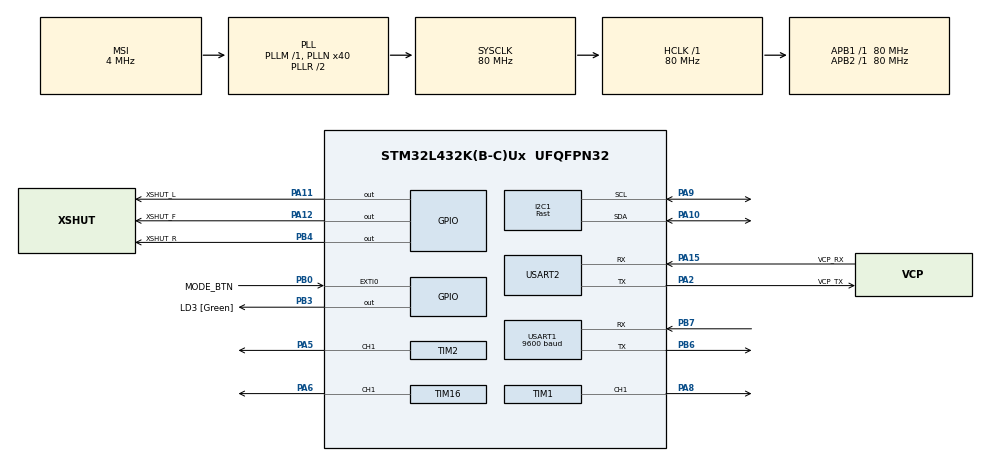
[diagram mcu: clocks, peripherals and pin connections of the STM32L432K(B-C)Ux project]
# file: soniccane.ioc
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FREERTOS.BinarySemaphores01=BinSemMode,Dynamic,NULL
FREERTOS.INCLUDE_uxTaskGetStackHighWaterMark=1
FREERTOS.INCLUDE_vTaskDelay=1
FREERTOS.INCLUDE_vTaskDelayUntil=1
FREERTOS.INCLUDE_xTaskGetSchedulerState=1
FREERTOS.Tasks01=defaultTask,24,128,StartDefaultTask,Default,NULL,Dynamic,NULL,NULL;Sensor,40,384,StartSensorTask,Default,NULL,Dynamic,NULL,NULL;Feedback,32,256,StartFeedbackTask,Default,NULL,Dynamic,NULL,NULL;Button,32,128,StartButtonTask,Default,NULL,Dynamic,NULL,NULL;Debug,8,256,StartDebugTask,Default,NULL,Dynamic,NULL,NULL;Comms,24,384,StartCommsTask,Default,NULL,Dynamic,NULL,NULL
FREERTOS.configMAX_PRIORITIES=56
FREERTOS.configTOTAL_HEAP_SIZE=8192 
I2C1.I2C_Speed_Mode=I2C_Fast
I2C1.Timing=0x00702991
Mcu.Family=STM32L4
Mcu.Name=STM32L432K(B-C)Ux
Mcu.Package=UFQFPN32
NVIC.EXTI0_IRQn=true\:5\:0\:false\:false\:true\:true\:true\:true\:true
NVIC.PriorityGroup=NVIC_PRIORITYGROUP_4
NVIC.TIM6_DAC_IRQn=true\:15\:0\:false\:false\:true\:false\:false\:true\:true
NVIC.TimeBase=TIM6_DAC_IRQn
NVIC.TimeBaseIP=TIM6
PA0.GPIO_Label=MCO [High speed clock in]
PA0.Mode=HSE-External-Clock-Source-for-LittleOrca
PA0.Signal=RCC_CK_IN
PA10.Mode=I2C
PA10.Signal=I2C1_SDA
PA11.GPIO_Label=XSHUT_L
PA11.Signal=GPIO_Output
PA12.GPIO_Label=XSHUT_F
PA12.Signal=GPIO_Output
PA13\ (JTMS-SWDIO).GPIO_Label=SWDIO
PA13\ (JTMS-SWDIO).Mode=Serial_Wire
PA13\ (JTMS-SWDIO).Signal=SYS_JTMS-SWDIO
PA14\ (JTCK-SWCLK).GPIO_Label=SWCLK
PA14\ (JTCK-SWCLK).Mode=Serial_Wire
PA14\ (JTCK-SWCLK).Signal=SYS_JTCK-SWCLK
PA15\ (JTDI).GPIO_Label=VCP_RX
PA15\ (JTDI).Mode=Asynchronous
PA15\ (JTDI).Signal=USART2_RX
PA2.GPIO_Label=VCP_TX
PA2.Mode=Asynchronous
PA2.Signal=USART2_TX
PA5.Signal=S_TIM2_CH1
PA6.Signal=S_TIM16_CH1
PA8.Signal=S_TIM1_CH1
PA9.Mode=I2C
PA9.Signal=I2C1_SCL
PB0.GPIO_Label=MODE_BTN
PB0.GPIO_ModeDefaultEXTI=GPIO_MODE_IT_FALLING
PB0.GPIO_PuPd=GPIO_PULLUP
PB0.Signal=GPXTI0
PB3\ (JTDO-TRACESWO).GPIO_Label=LD3 [Green]
PB3\ (JTDO-TRACESWO).Signal=GPIO_Output
PB4\ (NJTRST).GPIO_Label=XSHUT_R
PB4\ (NJTRST).Signal=GPIO_Output
PB6.Mode=Asynchronous
PB6.Signal=USART1_TX
PB7.Mode=Asynchronous
PB7.Signal=USART1_RX
PC14-OSC32_IN\ (PC14).Mode=LSE-External-Oscillator
PC14-OSC32_IN\ (PC14).Signal=RCC_OSC32_IN
PC15-OSC32_OUT\ (PC15).Mode=LSE-External-Oscillator
PC15-OSC32_OUT\ (PC15).Signal=RCC_OSC32_OUT
ProjectManager.HeapSize=0x200
ProjectManager.StackSize=0x400
ProjectManager.TargetToolchain=MDK-ARM V5.32
RCC.AHBFreq_Value=80000000
RCC.APB1Freq_Value=80000000
RCC.APB1TimFreq_Value=80000000
RCC.APB2Freq_Value=80000000
RCC.APB2TimFreq_Value=80000000
RCC.CortexFreq_Value=80000000
RCC.HCLKFreq_Value=80000000
RCC.HSE_VALUE=8000000
RCC.HSI16_VALUE=16000000
RCC.HSI48_VALUE=48000000
RCC.HSI_VALUE=16000000
RCC.MSI_VALUE=4000000
RCC.PLLMUL=RCC_PLLMUL_4
RCC.PLLN=40
RCC.SYSCLKFreq_VALUE=80000000
RCC.SYSCLKSource=RCC_SYSCLKSOURCE_PLLCLK
RCC.VCOOutputFreq_Value=160000000
SH.S_TIM16_CH1.0=TIM16_CH1,PWM Generation1 CH1
SH.S_TIM1_CH1.0=TIM1_CH1,PWM Generation1 CH1
SH.S_TIM2_CH1.0=TIM2_CH1,PWM Generation1 CH1
TIM1.AutoReloadPreload=TIM_AUTORELOAD_PRELOAD_ENABLE
TIM1.Channel-PWM\ Generation1\ CH1=TIM_CHANNEL_1
TIM1.Period=999
TIM1.Prescaler=15999
TIM16.AutoReloadPreload=TIM_AUTORELOAD_PRELOAD_ENABLE
TIM16.Channel=TIM_CHANNEL_1
TIM16.Period=999
TIM16.Prescaler=15999
TIM2.AutoReloadPreload=TIM_AUTORELOAD_PRELOAD_ENABLE
TIM2.Channel-PWM\ Generation1\ CH1=TIM_CHANNEL_1
TIM2.Period=999
TIM2.Prescaler=15999
USART1.BaudRate=9600
USART1.VirtualMode-Asynchronous=VM_ASYNC
USART2.VirtualMode-Asynchronous=VM_ASYNC
VP_FREERTOS_VS_CMSIS_V2.Mode=CMSIS_V2
VP_SYS_VS_tim6.Mode=TIM6
VP_TIM16_VS_ClockSourceINT.Mode=Enable_Timer
VP_TIM1_VS_ClockSourceINT.Mode=Internal
VP_TIM2_VS_ClockSourceINT.Mode=Internal
board=NUCLEO-L432KC

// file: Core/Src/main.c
/* USER CODE BEGIN Header */
/**
 ******************************************************************************
 * @file           : main.c
 * @brief          : Main program body
 ******************************************************************************
 * @attention
 *
 * Copyright (c) 2026 STMicroelectronics.
 * All rights reserved.
 *
 * This software is licensed under terms that can be found in the LICENSE file
 * in the root directory of this software component.
 * If no LICENSE file comes with this software, it is provided AS-IS.
 *
 ******************************************************************************
 */
/* USER CODE END Header */
#include "main.h"
#include "cmsis_os.h"

/* USER CODE BEGIN Includes */
#include <stdio.h>
#include "FreeRTOS.h"
#include "queue.h"
#include "semphr.h"
#include "VL53L1X_api.h"
#include "vl53l1_platform.h"
/* USER CODE END Includes */

/* USER CODE BEGIN PTD */
typedef struct
{
  uint16_t d_fwd;
  uint16_t d_left;
  uint16_t d_right;
  uint32_t t_ms;
} DistanceMsg_t;

typedef struct
{
  DistanceMsg_t dist;
  uint8_t motor_enabled;
  uint32_t err_count[3];
  uint32_t bus_recover_count;
} TelemetrySnapshot_t;

typedef struct
{
  VL53L1_Dev_t dev;
  GPIO_TypeDef *xshut_port;
  uint16_t xshut_pin;
  uint16_t last_dist;
  TIM_HandleTypeDef *htim;
  uint32_t tim_channel;
} channel_t;

typedef enum
{
  ALERT_OFF = 0,   /* > 2 m or invalid                */
  ALERT_FAR,       /* 1.0�2.0 m                       */
  ALERT_MEDIUM,    /* 0.5�1.0 m                       */
  ALERT_CLOSE,     /* 0.2�0.5 m                       */
  ALERT_IMMEDIATE, /* < 0.2 m                          */
} AlertZone_t;

typedef struct
{
  uint8_t dir; /* IDX_FWD / IDX_LEFT / IDX_RIGHT  */
  AlertZone_t zone;
  uint16_t dist_mm;
} AlertMsg_t;

typedef struct
{
  uint16_t buf[5];
  uint8_t idx;
  uint8_t count;
} median_filter_t;
/* USER CODE END PTD */

/* USER CODE BEGIN PD */
#define N_CH 3
#define IDX_FWD 0
#define IDX_LEFT 1
#define IDX_RIGHT 2

#define PWM_ARR 999u
#define PWM_FULL_ON 1000u /* > ARR ? output stays HIGH */
#define PWM_HALF_DUTY 500u

#define PSC_1_5HZ 53332u
#define PSC_3HZ 26665u
#define PSC_6HZ 13332u

#define FILTER_N 5u
/* USER CODE END PD */

I2C_HandleTypeDef hi2c1;

TIM_HandleTypeDef htim1;
TIM_HandleTypeDef htim2;
TIM_HandleTypeDef htim16;

UART_HandleTypeDef huart1;
UART_HandleTypeDef huart2;

/* Definitions for defaultTask */
osThreadId_t defaultTaskHandle;
const osThreadAttr_t defaultTask_attributes = {
    .name = "defaultTask",
    .stack_size = 128 * 4,
    .priority = (osPriority_t)osPriorityNormal,
};
/* Definitions for Sensor */
osThreadId_t SensorHandle;
const osThreadAttr_t Sensor_attributes = {
    .name = "Sensor",
    .stack_size = 384 * 4,
    .priority = (osPriority_t)osPriorityHigh,
};
/* Definitions for Feedback */
osThreadId_t FeedbackHandle;
const osThreadAttr_t Feedback_attributes = {
    .name = "Feedback",
    .stack_size = 256 * 4,
    .priority = (osPriority_t)osPriorityAboveNormal,
};
/* Definitions for Button */
osThreadId_t ButtonHandle;
const osThreadAttr_t Button_attributes = {
    .name = "Button",
    .stack_size = 128 * 4,
    .priority = (osPriority_t)osPriorityAboveNormal,
};
/* Definitions for Debug */
osThreadId_t DebugHandle;
const osThreadAttr_t Debug_attributes = {
    .name = "Debug",
    .stack_size = 256 * 4,
    .priority = (osPriority_t)osPriorityLow,
};
/* Definitions for Comms */
osThreadId_t CommsHandle;
const osThreadAttr_t Comms_attributes = {
    .name = "Comms",
    .stack_size = 384 * 4,
    .priority = (osPriority_t)osPriorityNormal,
};
/* Definitions for BinSemMode */
osSemaphoreId_t BinSemModeHandle;
const osSemaphoreAttr_t BinSemMode_attributes = {
    .name = "BinSemMode"};
/* USER CODE BEGIN PV */
static channel_t ch[N_CH] = {
    [IDX_FWD] = {
        .dev = {.I2cHandle = &hi2c1},
        .xshut_port = XSHUT_F_GPIO_Port,
        .xshut_pin = XSHUT_F_Pin,
        .htim = &htim2,
        .tim_channel = TIM_CHANNEL_1,
    },
    [IDX_LEFT] = {
        .dev = {.I2cHandle = &hi2c1},
        .xshut_port = XSHUT_L_GPIO_Port,
        .xshut_pin = XSHUT_L_Pin,
        .htim = &htim1,
        .tim_channel = TIM_CHANNEL_1,
    },
    [IDX_RIGHT] = {
        .dev = {.I2cHandle = &hi2c1},
        .xshut_port = XSHUT_R_GPIO_Port,
        .xshut_pin = XSHUT_R_Pin,
        .htim = &htim16,
        .tim_channel = TIM_CHANNEL_1,
    },
};

static const uint8_t SENSOR_ADDRS[N_CH] = {0x54, 0x56, 0x58};

static volatile uint32_t err_count[N_CH] = {0};
static volatile uint32_t bus_recover_count = 0;

static median_filter_t mf[N_CH] = {0};

static volatile uint8_t motor_enabled = 0;

osMessageQueueId_t distanceQueueHandle;
osMessageQueueId_t telemetryQueueHandle;
osMessageQueueId_t alertQueueHandle;
/* USER CODE END PV */

void SystemClock_Config(void);
static void MX_GPIO_Init(void);
static void MX_I2C1_Init(void);
static void MX_USART2_UART_Init(void);
static void MX_TIM2_Init(void);
static void MX_TIM1_Init(void);
static void MX_TIM16_Init(void);
static void MX_USART1_UART_Init(void);
void StartDefaultTask(void *argument);
void StartSensorTask(void *argument);
void StartFeedbackTask(void *argument);
void StartButtonTask(void *argument);
void StartDebugTask(void *argument);
void StartCommsTask(void *argument);

/* USER CODE BEGIN PFP */
static void uart_say(const char *s, int n);
static void i2c_bus_recover(void);
static int sensor_bringup(int i);
static void sensor_bringup_all(void);
static uint16_t read_one(int i);
static uint16_t filter_push(int i, uint16_t raw);
static void apply_bucket(int i, uint16_t dist);
static void silence_all(void);
static void publish_telemetry(const DistanceMsg_t *msg);
static AlertZone_t dist_to_zone(uint16_t dist);
/* USER CODE END PFP */

/* USER CODE BEGIN 0 */
static void uart_say(const char *s, int n)
{
  HAL_UART_Transmit(&huart2, (const uint8_t *)s, n, HAL_MAX_DELAY);
}

static void i2c_bus_recover(void)
{
  HAL_I2C_DeInit(&hi2c1);
  HAL_Delay(2);
  MX_I2C1_Init();
  bus_recover_count++;
}

static int sensor_bringup(int i)
{
  char m[40];
  int n;
  int8_t rc;

  HAL_GPIO_WritePin(ch[i].xshut_port, ch[i].xshut_pin, GPIO_PIN_SET);
  HAL_Delay(2);
  ch[i].dev.I2cDevAddr = 0x52;

  uint8_t booted = 0;
  uint32_t boot_start = HAL_GetTick();
  while (!booted)
  {
    rc = VL53L1X_BootState(ch[i].dev, &booted);
    if (rc != 0)
    {
      n = snprintf(m, sizeof(m), "S%d boot rc=%d ec=0x%lX\r\n",
                   i, rc, (unsigned long)hi2c1.ErrorCode);
      uart_say(m, n);
      return 1;
    }
    if (HAL_GetTick() - boot_start > 100)
    {
      n = snprintf(m, sizeof(m), "S%d boot timeout\r\n", i);
      uart_say(m, n);
      return 2;
    }
    HAL_Delay(2);
  }

  rc = VL53L1X_SetI2CAddress(ch[i].dev, SENSOR_ADDRS[i]);
  if (rc)
  {
    n = snprintf(m, sizeof(m), "S%d setaddr rc=%d\r\n", i, rc);
    uart_say(m, n);
    return 3;
  }
  ch[i].dev.I2cDevAddr = SENSOR_ADDRS[i];

  rc = VL53L1X_SensorInit(ch[i].dev);
  if (rc)
  {
    n = snprintf(m, sizeof(m), "S%d sensorinit rc=%d\r\n", i, rc);
    uart_say(m, n);
    return 4;
  }

  rc = VL53L1X_SetDistanceMode(ch[i].dev, 1);
  if (rc)
  {
    n = snprintf(m, sizeof(m), "S%d distmode rc=%d\r\n", i, rc);
    uart_say(m, n);
    return 5;
  }

  rc = VL53L1X_SetTimingBudgetInMs(ch[i].dev, 50);
  if (rc)
  {
    n = snprintf(m, sizeof(m), "S%d tb rc=%d\r\n", i, rc);
    uart_say(m, n);
    return 6;
  }

  rc = VL53L1X_SetInterMeasurementInMs(ch[i].dev, 50);
  if (rc)
  {
    n = snprintf(m, sizeof(m), "S%d imp rc=%d\r\n", i, rc);
    uart_say(m, n);
    return 7;
  }

  rc = VL53L1X_StartRanging(ch[i].dev);
  if (rc)
  {
    n = snprintf(m, sizeof(m), "S%d start rc=%d\r\n", i, rc);
    uart_say(m, n);
    return 8;
  }

  uint32_t check_start = HAL_GetTick();
  uint8_t ready = 0;
  while (HAL_GetTick() - check_start < 200)
  {
    rc = VL53L1X_CheckForDataReady(ch[i].dev, &ready);
    if (rc == 0 && ready)
      break;
    HAL_Delay(5);
  }
  if (!ready)
  {
    n = snprintf(m, sizeof(m), "S%d no data after init\r\n", i);
    uart_say(m, n);
    return 9;
  }
  VL53L1X_ClearInterrupt(ch[i].dev);

  n = snprintf(m, sizeof(m), "S%d ok @ 0x%02X\r\n", i, SENSOR_ADDRS[i]);
  uart_say(m, n);
  return 0;
}

static void sensor_bringup_all(void)
{
  for (int i = 0; i < N_CH; i++)
    HAL_GPIO_WritePin(ch[i].xshut_port, ch[i].xshut_pin, GPIO_PIN_RESET);
  HAL_Delay(10);

  for (int i = 0; i < N_CH; i++)
  {
    int attempts = 0;
    while (sensor_bringup(i) != 0)
    {
      if (++attempts >= 3)
      {
        char m[24];
        int n = snprintf(m, sizeof(m), "S%d FAIL\r\n", i);
        uart_say(m, n);
        break;
      }
      i2c_bus_recover();
      HAL_GPIO_WritePin(ch[i].xshut_port, ch[i].xshut_pin, GPIO_PIN_RESET);
      HAL_Delay(5);
    }
  }
}

static uint16_t read_one(int i)
{
  uint8_t ready = 0;
  int8_t rc = VL53L1X_CheckForDataReady(ch[i].dev, &ready);
  if (rc != 0)
  {
    err_count[i]++;
    i2c_bus_recover();
    return ch[i].last_dist;
  }
  if (!ready)
    return ch[i].last_dist;

  uint16_t dist = 0;
  rc = VL53L1X_GetDistance(ch[i].dev, &dist);
  if (rc != 0)
  {
    err_count[i]++;
    i2c_bus_recover();
    return ch[i].last_dist;
  }
  VL53L1X_ClearInterrupt(ch[i].dev);
  ch[i].last_dist = dist;
  return dist;
}

static uint16_t filter_push(int i, uint16_t raw)
{
  median_filter_t *f = &mf[i];
  f->buf[f->idx] = raw;
  f->idx = (uint8_t)((f->idx + 1u) % FILTER_N);
  if (f->count < FILTER_N)
    f->count++;

  uint16_t sorted[FILTER_N];
  for (uint8_t k = 0; k < f->count; k++)
    sorted[k] = f->buf[k];
  for (uint8_t k = 1; k < f->count; k++)
  {
    uint16_t v = sorted[k];
    int j = (int)k - 1;
    while (j >= 0 && sorted[j] > v)
    {
      sorted[j + 1] = sorted[j];
      j--;
    }
    sorted[j + 1] = v;
  }
  return sorted[f->count / 2u];
}

static void apply_bucket(int i, uint16_t dist)
{
  TIM_HandleTypeDef *t = ch[i].htim;
  uint32_t chx = ch[i].tim_channel;

  if (dist == 0 || dist > 2000)
  {
    __HAL_TIM_SET_COMPARE(t, chx, 0);
  }
  else if (dist < 200)
  {
    __HAL_TIM_SET_COMPARE(t, chx, PWM_FULL_ON);
  }
  else if (dist <= 500)
  {
    __HAL_TIM_SET_PRESCALER(t, PSC_6HZ);
    __HAL_TIM_SET_COMPARE(t, chx, PWM_HALF_DUTY);
  }
  else if (dist <= 1000)
  {
    __HAL_TIM_SET_PRESCALER(t, PSC_3HZ);
    __HAL_TIM_SET_COMPARE(t, chx, PWM_HALF_DUTY);
  }
  else
  {
    __HAL_TIM_SET_PRESCALER(t, PSC_1_5HZ);
    __HAL_TIM_SET_COMPARE(t, chx, PWM_HALF_DUTY);
  }
}

static void silence_all(void)
{
  for (int i = 0; i < N_CH; i++)
    __HAL_TIM_SET_COMPARE(ch[i].htim, ch[i].tim_channel, 0);
}

static void publish_telemetry(const DistanceMsg_t *msg)
{
  TelemetrySnapshot_t snap;
  snap.dist = *msg;

  taskENTER_CRITICAL();
  snap.motor_enabled = motor_enabled;
  for (int i = 0; i < N_CH; i++)
    snap.err_count[i] = err_count[i];
  snap.bus_recover_count = bus_recover_count;
  taskEXIT_CRITICAL();

  xQueueSendToBack((QueueHandle_t)telemetryQueueHandle, &snap, 0);
}

static AlertZone_t dist_to_zone(uint16_t dist)
{
  if (dist == 0 || dist > 2000)
    return ALERT_OFF;
  if (dist < 200)
    return ALERT_IMMEDIATE;
  if (dist <= 500)
    return ALERT_CLOSE;
  if (dist <= 1000)
    return ALERT_MEDIUM;
  return ALERT_FAR;
}
/* USER CODE END 0 */

int main(void)
{

  /* MCU Configuration--------------------------------------------------------*/

  /* Reset of all peripherals, Initializes the Flash interface and the Systick. */
  HAL_Init();

  /* Configure the system clock */
  SystemClock_Config();

  /* Initialize all configured peripherals */
  MX_GPIO_Init();
  MX_I2C1_Init();
  MX_USART2_UART_Init();
  MX_TIM2_Init();
  MX_TIM1_Init();
  MX_TIM16_Init();
  MX_USART1_UART_Init();
  /* USER CODE BEGIN 2 */
  sensor_bringup_all();
  HAL_TIM_PWM_Start(&htim2, TIM_CHANNEL_1);
  HAL_TIM_PWM_Start(&htim1, TIM_CHANNEL_1);
  HAL_TIM_PWM_Start(&htim16, TIM_CHANNEL_1);
  /* USER CODE END 2 */

  /* Init scheduler */
  osKernelInitialize();

  /* Create the semaphores(s) */
  /* creation of BinSemMode */
  BinSemModeHandle = osSemaphoreNew(1, 1, &BinSemMode_attributes);

  /* USER CODE BEGIN RTOS_QUEUES */
  /* add queues, ... */
  distanceQueueHandle = osMessageQueueNew(2, sizeof(DistanceMsg_t), NULL);
  telemetryQueueHandle = osMessageQueueNew(1, sizeof(TelemetrySnapshot_t), NULL);
  alertQueueHandle = osMessageQueueNew(4, sizeof(AlertMsg_t), NULL);
  /* USER CODE END RTOS_QUEUES */

  /* Create the thread(s) */
  /* creation of defaultTask */
  defaultTaskHandle = osThreadNew(StartDefaultTask, NULL, &defaultTask_attributes);

  /* creation of Sensor */
  SensorHandle = osThreadNew(StartSensorTask, NULL, &Sensor_attributes);

  /* creation of Feedback */
  FeedbackHandle = osThreadNew(StartFeedbackTask, NULL, &Feedback_attributes);

  /* creation of Button */
  ButtonHandle = osThreadNew(StartButtonTask, NULL, &Button_attributes);

  /* creation of Debug */
  DebugHandle = osThreadNew(StartDebugTask, NULL, &Debug_attributes);

  /* creation of Comms */
  CommsHandle = osThreadNew(StartCommsTask, NULL, &Comms_attributes);

  /* Start scheduler */
  osKernelStart();
  /* We should never get here as control is now taken by the scheduler */
  /* Infinite loop */
  while (1)
  {

  }
}

void SystemClock_Config(void)
{
  RCC_OscInitTypeDef RCC_OscInitStruct = {0};
  RCC_ClkInitTypeDef RCC_ClkInitStruct = {0};

  /** Configure the main internal regulator output voltage
   */
  if (HAL_PWREx_ControlVoltageScaling(PWR_REGULATOR_VOLTAGE_SCALE1) != HAL_OK)
  {
    Error_Handler();
  }

  /** Configure LSE Drive Capability
   */
  HAL_PWR_EnableBkUpAccess();
  __HAL_RCC_LSEDRIVE_CONFIG(RCC_LSEDRIVE_LOW);

  /** Initializes the RCC Oscillators according to the specified parameters
   * in the RCC_OscInitTypeDef structure.
   */
  RCC_OscInitStruct.OscillatorType = RCC_OSCILLATORTYPE_LSE | RCC_OSCILLATORTYPE_MSI;
  RCC_OscInitStruct.LSEState = RCC_LSE_ON;
  RCC_OscInitStruct.MSIState = RCC_MSI_ON;
  RCC_OscInitStruct.MSICalibrationValue = 0;
  RCC_OscInitStruct.MSIClockRange = RCC_MSIRANGE_6;
  RCC_OscInitStruct.PLL.PLLState = RCC_PLL_ON;
  RCC_OscInitStruct.PLL.PLLSource = RCC_PLLSOURCE_MSI;
  RCC_OscInitStruct.PLL.PLLM = 1;
  RCC_OscInitStruct.PLL.PLLN = 40;
  RCC_OscInitStruct.PLL.PLLP = RCC_PLLP_DIV7;
  RCC_OscInitStruct.PLL.PLLQ = RCC_PLLQ_DIV2;
  RCC_OscInitStruct.PLL.PLLR = RCC_PLLR_DIV2;
  if (HAL_RCC_OscConfig(&RCC_OscInitStruct) != HAL_OK)
  {
    Error_Handler();
  }

  /** Initializes the CPU, AHB and APB buses clocks
   */
  RCC_ClkInitStruct.ClockType = RCC_CLOCKTYPE_HCLK | RCC_CLOCKTYPE_SYSCLK | RCC_CLOCKTYPE_PCLK1 | RCC_CLOCKTYPE_PCLK2;
  RCC_ClkInitStruct.SYSCLKSource = RCC_SYSCLKSOURCE_PLLCLK;
  RCC_ClkInitStruct.AHBCLKDivider = RCC_SYSCLK_DIV1;
  RCC_ClkInitStruct.APB1CLKDivider = RCC_HCLK_DIV1;
  RCC_ClkInitStruct.APB2CLKDivider = RCC_HCLK_DIV1;

  if (HAL_RCC_ClockConfig(&RCC_ClkInitStruct, FLASH_LATENCY_4) != HAL_OK)
  {
    Error_Handler();
  }

  /** Enable MSI Auto calibration
   */
  HAL_RCCEx_EnableMSIPLLMode();
}

static void MX_I2C1_Init(void)
{

  hi2c1.Instance = I2C1;
  hi2c1.Init.Timing = 0x00702991;
  hi2c1.Init.OwnAddress1 = 0;
  hi2c1.Init.AddressingMode = I2C_ADDRESSINGMODE_7BIT;
  hi2c1.Init.DualAddressMode = I2C_DUALADDRESS_DISABLE;
  hi2c1.Init.OwnAddress2 = 0;
  hi2c1.Init.OwnAddress2Masks = I2C_OA2_NOMASK;
  hi2c1.Init.GeneralCallMode = I2C_GENERALCALL_DISABLE;
  hi2c1.Init.NoStretchMode = I2C_NOSTRETCH_DISABLE;
  if (HAL_I2C_Init(&hi2c1) != HAL_OK)
  {
    Error_Handler();
  }

  /** Configure Analogue filter
   */
  if (HAL_I2CEx_ConfigAnalogFilter(&hi2c1, I2C_ANALOGFILTER_ENABLE) != HAL_OK)
  {
    Error_Handler();
  }

  /** Configure Digital filter
   */
  if (HAL_I2CEx_ConfigDigitalFilter(&hi2c1, 0) != HAL_OK)
  {
    Error_Handler();
  }
}

static void MX_TIM1_Init(void)
{

  TIM_ClockConfigTypeDef sClockSourceConfig = {0};
  TIM_MasterConfigTypeDef sMasterConfig = {0};
  TIM_OC_InitTypeDef sConfigOC = {0};
  TIM_BreakDeadTimeConfigTypeDef sBreakDeadTimeConfig = {0};

  htim1.Instance = TIM1;
  htim1.Init.Prescaler = 15999;
  htim1.Init.CounterMode = TIM_COUNTERMODE_UP;
  htim1.Init.Period = 999;
  htim1.Init.ClockDivision = TIM_CLOCKDIVISION_DIV1;
  htim1.Init.RepetitionCounter = 0;
  htim1.Init.AutoReloadPreload = TIM_AUTORELOAD_PRELOAD_ENABLE;
  if (HAL_TIM_Base_Init(&htim1) != HAL_OK)
  {
    Error_Handler();
  }
  sClockSourceConfig.ClockSource = TIM_CLOCKSOURCE_INTERNAL;
  if (HAL_TIM_ConfigClockSource(&htim1, &sClockSourceConfig) != HAL_OK)
  {
    Error_Handler();
  }
  if (HAL_TIM_PWM_Init(&htim1) != HAL_OK)
  {
    Error_Handler();
  }
  sMasterConfig.MasterOutputTrigger = TIM_TRGO_RESET;
  sMasterConfig.MasterOutputTrigger2 = TIM_TRGO2_RESET;
  sMasterConfig.MasterSlaveMode = TIM_MASTERSLAVEMODE_DISABLE;
  if (HAL_TIMEx_MasterConfigSynchronization(&htim1, &sMasterConfig) != HAL_OK)
  {
    Error_Handler();
  }
  sConfigOC.OCMode = TIM_OCMODE_PWM1;
  sConfigOC.Pulse = 0;
  sConfigOC.OCPolarity = TIM_OCPOLARITY_HIGH;
  sConfigOC.OCNPolarity = TIM_OCNPOLARITY_HIGH;
  sConfigOC.OCFastMode = TIM_OCFAST_DISABLE;
  sConfigOC.OCIdleState = TIM_OCIDLESTATE_RESET;
  sConfigOC.OCNIdleState = TIM_OCNIDLESTATE_RESET;
  if (HAL_TIM_PWM_ConfigChannel(&htim1, &sConfigOC, TIM_CHANNEL_1) != HAL_OK)
  {
    Error_Handler();
  }
  sBreakDeadTimeConfig.OffStateRunMode = TIM_OSSR_DISABLE;
  sBreakDeadTimeConfig.OffStateIDLEMode = TIM_OSSI_DISABLE;
  sBreakDeadTimeConfig.LockLevel = TIM_LOCKLEVEL_OFF;
  sBreakDeadTimeConfig.DeadTime = 0;
  sBreakDeadTimeConfig.BreakState = TIM_BREAK_DISABLE;
  sBreakDeadTimeConfig.BreakPolarity = TIM_BREAKPOLARITY_HIGH;
  sBreakDeadTimeConfig.BreakFilter = 0;
  sBreakDeadTimeConfig.Break2State = TIM_BREAK2_DISABLE;
  sBreakDeadTimeConfig.Break2Polarity = TIM_BREAK2POLARITY_HIGH;
  sBreakDeadTimeConfig.Break2Filter = 0;
  sBreakDeadTimeConfig.AutomaticOutput = TIM_AUTOMATICOUTPUT_DISABLE;
  if (HAL_TIMEx_ConfigBreakDeadTime(&htim1, &sBreakDeadTimeConfig) != HAL_OK)
  {
    Error_Handler();
  }
  HAL_TIM_MspPostInit(&htim1);
}

static void MX_TIM2_Init(void)
{

  TIM_ClockConfigTypeDef sClockSourceConfig = {0};
  TIM_MasterConfigTypeDef sMasterConfig = {0};
  TIM_OC_InitTypeDef sConfigOC = {0};

  htim2.Instance = TIM2;
  htim2.Init.Prescaler = 15999;
  htim2.Init.CounterMode = TIM_COUNTERMODE_UP;
  htim2.Init.Period = 999;
  htim2.Init.ClockDivision = TIM_CLOCKDIVISION_DIV1;
  htim2.Init.AutoReloadPreload = TIM_AUTORELOAD_PRELOAD_ENABLE;
  if (HAL_TIM_Base_Init(&htim2) != HAL_OK)
  {
    Error_Handler();
  }
  sClockSourceConfig.ClockSource = TIM_CLOCKSOURCE_INTERNAL;
  if (HAL_TIM_ConfigClockSource(&htim2, &sClockSourceConfig) != HAL_OK)
  {
    Error_Handler();
  }
  if (HAL_TIM_PWM_Init(&htim2) != HAL_OK)
  {
    Error_Handler();
  }
  sMasterConfig.MasterOutputTrigger = TIM_TRGO_RESET;
  sMasterConfig.MasterSlaveMode = TIM_MASTERSLAVEMODE_DISABLE;
  if (HAL_TIMEx_MasterConfigSynchronization(&htim2, &sMasterConfig) != HAL_OK)
  {
    Error_Handler();
  }
  sConfigOC.OCMode = TIM_OCMODE_PWM1;
  sConfigOC.Pulse = 0;
  sConfigOC.OCPolarity = TIM_OCPOLARITY_HIGH;
  sConfigOC.OCFastMode = TIM_OCFAST_DISABLE;
  if (HAL_TIM_PWM_ConfigChannel(&htim2, &sConfigOC, TIM_CHANNEL_1) != HAL_OK)
  {
    Error_Handler();
  }
  HAL_TIM_MspPostInit(&htim2);
}

static void MX_TIM16_Init(void)
{

  TIM_OC_InitTypeDef sConfigOC = {0};
  TIM_BreakDeadTimeConfigTypeDef sBreakDeadTimeConfig = {0};

  htim16.Instance = TIM16;
  htim16.Init.Prescaler = 15999;
  htim16.Init.CounterMode = TIM_COUNTERMODE_UP;
  htim16.Init.Period = 999;
  htim16.Init.ClockDivision = TIM_CLOCKDIVISION_DIV1;
  htim16.Init.RepetitionCounter = 0;
  htim16.Init.AutoReloadPreload = TIM_AUTORELOAD_PRELOAD_ENABLE;
  if (HAL_TIM_Base_Init(&htim16) != HAL_OK)
  {
    Error_Handler();
  }
  if (HAL_TIM_PWM_Init(&htim16) != HAL_OK)
  {
    Error_Handler();
  }
  sConfigOC.OCMode = TIM_OCMODE_PWM1;
  sConfigOC.Pulse = 0;
  sConfigOC.OCPolarity = TIM_OCPOLARITY_HIGH;
  sConfigOC.OCNPolarity = TIM_OCNPOLARITY_HIGH;
  sConfigOC.OCFastMode = TIM_OCFAST_DISABLE;
  sConfigOC.OCIdleState = TIM_OCIDLESTATE_RESET;
  sConfigOC.OCNIdleState = TIM_OCNIDLESTATE_RESET;
  if (HAL_TIM_PWM_ConfigChannel(&htim16, &sConfigOC, TIM_CHANNEL_1) != HAL_OK)
  {
    Error_Handler();
  }
  sBreakDeadTimeConfig.OffStateRunMode = TIM_OSSR_DISABLE;
  sBreakDeadTimeConfig.OffStateIDLEMode = TIM_OSSI_DISABLE;
  sBreakDeadTimeConfig.LockLevel = TIM_LOCKLEVEL_OFF;
  sBreakDeadTimeConfig.DeadTime = 0;
  sBreakDeadTimeConfig.BreakState = TIM_BREAK_DISABLE;
  sBreakDeadTimeConfig.BreakPolarity = TIM_BREAKPOLARITY_HIGH;
  sBreakDeadTimeConfig.AutomaticOutput = TIM_AUTOMATICOUTPUT_DISABLE;
  if (HAL_TIMEx_ConfigBreakDeadTime(&htim16, &sBreakDeadTimeConfig) != HAL_OK)
  {
    Error_Handler();
  }
  HAL_TIM_MspPostInit(&htim16);
}

static void MX_USART1_UART_Init(void)
{

  huart1.Instance = USART1;
  huart1.Init.BaudRate = 9600;
  huart1.Init.WordLength = UART_WORDLENGTH_8B;
  huart1.Init.StopBits = UART_STOPBITS_1;
  huart1.Init.Parity = UART_PARITY_NONE;
  huart1.Init.Mode = UART_MODE_TX_RX;
  huart1.Init.HwFlowCtl = UART_HWCONTROL_NONE;
  huart1.Init.OverSampling = UART_OVERSAMPLING_16;
  huart1.Init.OneBitSampling = UART_ONE_BIT_SAMPLE_DISABLE;
  huart1.AdvancedInit.AdvFeatureInit = UART_ADVFEATURE_NO_INIT;
  if (HAL_UART_Init(&huart1) != HAL_OK)
  {
    Error_Handler();
  }
}

static void MX_USART2_UART_Init(void)
{

  huart2.Instance = USART2;
  huart2.Init.BaudRate = 115200;
  huart2.Init.WordLength = UART_WORDLENGTH_8B;
  huart2.Init.StopBits = UART_STOPBITS_1;
  huart2.Init.Parity = UART_PARITY_NONE;
  huart2.Init.Mode = UART_MODE_TX_RX;
  huart2.Init.HwFlowCtl = UART_HWCONTROL_NONE;
  huart2.Init.OverSampling = UART_OVERSAMPLING_16;
  huart2.Init.OneBitSampling = UART_ONE_BIT_SAMPLE_DISABLE;
  huart2.AdvancedInit.AdvFeatureInit = UART_ADVFEATURE_NO_INIT;
  if (HAL_UART_Init(&huart2) != HAL_OK)
  {
    Error_Handler();
  }
}

static void MX_GPIO_Init(void)
{
  GPIO_InitTypeDef GPIO_InitStruct = {0};

  /* GPIO Ports Clock Enable */
  __HAL_RCC_GPIOC_CLK_ENABLE();
  __HAL_RCC_GPIOA_CLK_ENABLE();
  __HAL_RCC_GPIOB_CLK_ENABLE();

  /*Configure GPIO pin Output Level */
  HAL_GPIO_WritePin(GPIOA, XSHUT_L_Pin | XSHUT_F_Pin, GPIO_PIN_RESET);

  /*Configure GPIO pin Output Level */
  HAL_GPIO_WritePin(GPIOB, LD3_Pin | XSHUT_R_Pin, GPIO_PIN_RESET);

  /*Configure GPIO pin : MODE_BTN_Pin */
  GPIO_InitStruct.Pin = MODE_BTN_Pin;
  GPIO_InitStruct.Mode = GPIO_MODE_IT_FALLING;
  GPIO_InitStruct.Pull = GPIO_PULLUP;
  HAL_GPIO_Init(MODE_BTN_GPIO_Port, &GPIO_InitStruct);

  /*Configure GPIO pins : XSHUT_L_Pin XSHUT_F_Pin */
  GPIO_InitStruct.Pin = XSHUT_L_Pin | XSHUT_F_Pin;
  GPIO_InitStruct.Mode = GPIO_MODE_OUTPUT_PP;
  GPIO_InitStruct.Pull = GPIO_NOPULL;
  GPIO_InitStruct.Speed = GPIO_SPEED_FREQ_LOW;
  HAL_GPIO_Init(GPIOA, &GPIO_InitStruct);

  /*Configure GPIO pins : LD3_Pin XSHUT_R_Pin */
  GPIO_InitStruct.Pin = LD3_Pin | XSHUT_R_Pin;
  GPIO_InitStruct.Mode = GPIO_MODE_OUTPUT_PP;
  GPIO_InitStruct.Pull = GPIO_NOPULL;
  GPIO_InitStruct.Speed = GPIO_SPEED_FREQ_LOW;
  HAL_GPIO_Init(GPIOB, &GPIO_InitStruct);

  /* EXTI interrupt init*/
  HAL_NVIC_SetPriority(EXTI0_IRQn, 5, 0);
  HAL_NVIC_EnableIRQ(EXTI0_IRQn);

}

/* USER CODE BEGIN 4 */
void HAL_GPIO_EXTI_Callback(uint16_t GPIO_Pin)
{
  if (GPIO_Pin == MODE_BTN_Pin)
  {
    BaseType_t xHigherPriorityTaskWoken = pdFALSE;
    xSemaphoreGiveFromISR((SemaphoreHandle_t)BinSemModeHandle,
                          &xHigherPriorityTaskWoken);
    portYIELD_FROM_ISR(xHigherPriorityTaskWoken);
  }
}
/* USER CODE END 4 */

void StartDefaultTask(void *argument)
{
  for (;;)
  {
    osDelay(1);
  }
}

void StartSensorTask(void *argument)
{
  /* USER CODE BEGIN StartSensorTask */
  DistanceMsg_t msg;
  /* Infinite loop */
  for (;;)
  {
    msg.t_ms = HAL_GetTick();
    msg.d_fwd = filter_push(IDX_FWD, read_one(IDX_FWD));
    msg.d_left = filter_push(IDX_LEFT, read_one(IDX_LEFT));
    msg.d_right = filter_push(IDX_RIGHT, read_one(IDX_RIGHT));

    xQueueSendToBack((QueueHandle_t)distanceQueueHandle, &msg, 0);
    osDelay(33);
  }
  /* USER CODE END StartSensorTask */
}

void StartFeedbackTask(void *argument)
{
  /* USER CODE BEGIN StartFeedbackTask */
  DistanceMsg_t msg = {0};
  int print_tick = 0;
  static AlertZone_t last_zone[N_CH] = {ALERT_OFF, ALERT_OFF, ALERT_OFF};
  /* Infinite loop */
  for (;;)
  {
    xQueueReceive((QueueHandle_t)distanceQueueHandle,
                  &msg, pdMS_TO_TICKS(20));

    uint8_t enabled;
    taskENTER_CRITICAL();
    enabled = motor_enabled;
    taskEXIT_CRITICAL();

    if (!enabled)
    {
      silence_all();
    }
    else
    {
      apply_bucket(IDX_FWD, msg.d_fwd);
      apply_bucket(IDX_LEFT, msg.d_left);
      apply_bucket(IDX_RIGHT, msg.d_right);
    }

    /* Detect zone transitions, push to comms queue */
    const uint16_t d[N_CH] = {msg.d_fwd, msg.d_left, msg.d_right};
    for (int i = 0; i < N_CH; i++)
    {
      AlertZone_t z = dist_to_zone(d[i]);
      if (z != last_zone[i])
      {
        AlertMsg_t a = {.dir = (uint8_t)i, .zone = z, .dist_mm = d[i]};
        xQueueSendToBack((QueueHandle_t)alertQueueHandle, &a, 0);
        last_zone[i] = z;
      }
    }

    if (++print_tick >= 3)
    {
      print_tick = 0;
      publish_telemetry(&msg);
    }
    osDelay(1);
  }
  /* USER CODE END StartFeedbackTask */
}

void StartButtonTask(void *argument)
{
  /* USER CODE BEGIN StartButtonTask */
  /* Infinite loop */
  for (;;)
  {
    if (xSemaphoreTake((SemaphoreHandle_t)BinSemModeHandle,
                       portMAX_DELAY) == pdTRUE)
    {
      osDelay(20);
      if (HAL_GPIO_ReadPin(MODE_BTN_GPIO_Port, MODE_BTN_Pin) == GPIO_PIN_RESET)
      {
        taskENTER_CRITICAL();
        motor_enabled = !motor_enabled;
        taskEXIT_CRITICAL();
      }
    }
    osDelay(1);
  }
  /* USER CODE END StartButtonTask */
}

void StartDebugTask(void *argument)
{
  /* USER CODE BEGIN StartDebugTask */
  TelemetrySnapshot_t snap;
  char buf[96];
  /* Infinite loop */
  for (;;)
  {
    if (xQueueReceive((QueueHandle_t)telemetryQueueHandle,
                      &snap, portMAX_DELAY) == pdPASS)
    {
      int n = snprintf(buf, sizeof(buf),
                       "F=%4u L=%4u R=%4u m=%s e=%lu/%lu/%lu r=%lu\r\n",
                       snap.dist.d_fwd, snap.dist.d_left, snap.dist.d_right,
                       snap.motor_enabled ? "on" : "off",
                       (unsigned long)snap.err_count[0],
                       (unsigned long)snap.err_count[1],
                       (unsigned long)snap.err_count[2],
                       (unsigned long)snap.bus_recover_count);
      HAL_UART_Transmit(&huart2, (uint8_t *)buf, n, HAL_MAX_DELAY);
      HAL_GPIO_TogglePin(LD3_GPIO_Port, LD3_Pin);
    }
    osDelay(1);
  }
  /* USER CODE END StartDebugTask */
}

void StartCommsTask(void *argument)
{
  /* USER CODE BEGIN StartCommsTask */
  AlertMsg_t a;
  char buf[32];

  static const char *dir_str[] = {"F", "L", "R"};
  static const char *zone_str[] = {"OFF", "FAR", "MED", "CLOSE", "NEAR"};
  /* Infinite loop */
  for (;;)
  {
    if (xQueueReceive((QueueHandle_t)alertQueueHandle,
                      &a, portMAX_DELAY) == pdPASS)
    {
      int n = snprintf(buf, sizeof(buf), "%s:%s:%u\n",
                       dir_str[a.dir], zone_str[a.zone], a.dist_mm);
      HAL_UART_Transmit(&huart1, (uint8_t *)buf, n, HAL_MAX_DELAY);
    }
    osDelay(1);
  }
  /* USER CODE END StartCommsTask */
}

void HAL_TIM_PeriodElapsedCallback(TIM_HandleTypeDef *htim)
{
  if (htim->Instance == TIM6)
  {
    HAL_IncTick();
  }
}

void Error_Handler(void)
{
  __disable_irq();
  while (1)
  {
  }
}
